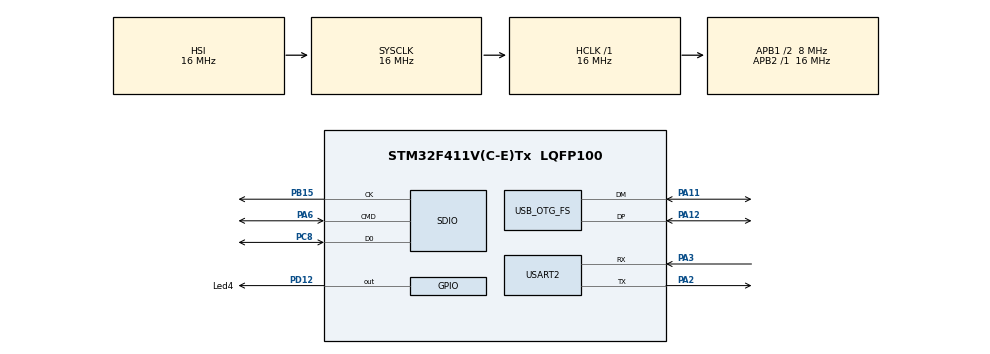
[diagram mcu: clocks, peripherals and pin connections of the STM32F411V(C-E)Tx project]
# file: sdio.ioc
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FATFS._MAX_SS=4096
Mcu.Family=STM32F4
Mcu.Name=STM32F411V(C-E)Tx
Mcu.Package=LQFP100
NVIC.OTG_FS_IRQn=true\:0\:0\:false\:false\:true\:false\:true\:true
NVIC.PriorityGroup=NVIC_PRIORITYGROUP_4
PA11.Mode=Device_Only
PA11.Signal=USB_OTG_FS_DM
PA12.Mode=Device_Only
PA12.Signal=USB_OTG_FS_DP
PA13.Mode=Serial_Wire
PA13.Signal=SYS_JTMS-SWDIO
PA14.Mode=Serial_Wire
PA14.Signal=SYS_JTCK-SWCLK
PA2.Mode=Asynchronous
PA2.Signal=USART2_TX
PA3.Mode=Asynchronous
PA3.Signal=USART2_RX
PA6.GPIO_PuPd=GPIO_PULLUP
PA6.Mode=SD_1_bit
PA6.Signal=SDIO_CMD
PB15.Mode=SD_1_bit
PB15.Signal=SDIO_CK
PC8.GPIO_PuPd=GPIO_PULLUP
PC8.Mode=SD_1_bit
PC8.Signal=SDIO_D0
PD12.GPIO_Label=Led4
PD12.Signal=GPIO_Output
PH0\ -\ OSC_IN.Mode=HSE-External-Oscillator
PH0\ -\ OSC_IN.Signal=RCC_OSC_IN
PH1\ -\ OSC_OUT.Mode=HSE-External-Oscillator
PH1\ -\ OSC_OUT.Signal=RCC_OSC_OUT
ProjectManager.HeapSize=0x1000
ProjectManager.StackSize=0x1000
ProjectManager.TargetToolchain=MDK-ARM V5.32
RCC.48MHZClocksFreq_Value=48000000
RCC.AHBFreq_Value=16000000
RCC.APB1CLKDivider=RCC_HCLK_DIV2
RCC.APB1Freq_Value=8000000
RCC.APB1TimFreq_Value=16000000
RCC.APB2Freq_Value=16000000
RCC.APB2TimFreq_Value=16000000
RCC.CortexFreq_Value=16000000
RCC.HCLKFreq_Value=16000000
RCC.HSE_VALUE=8000000
RCC.HSI_VALUE=16000000
RCC.LSE_VALUE=32768
RCC.PLLM=4
RCC.PLLN=72
RCC.PLLQ=3
RCC.SYSCLKFreq_VALUE=16000000
RCC.VCOOutputFreq_Value=144000000
SDIO.ClockDiv=3
USART2.VirtualMode=VM_ASYNC
USB_DEVICE.CLASS_NAME_FS=MSC
USB_DEVICE.VirtualMode=Msc
USB_DEVICE.VirtualModeFS=Msc_FS
USB_OTG_FS.VirtualMode=Device_Only
VP_FATFS_VS_SDIO.Mode=SDIO
VP_USB_DEVICE_VS_USB_DEVICE_MSC_FS.Mode=MSC_FS
board=custom

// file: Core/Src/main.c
/* USER CODE BEGIN Header */
/**
  ******************************************************************************
  * @file           : main.c
  * @brief          : Main program body
  ******************************************************************************
  * @attention
  *
  * Copyright (c) 2022 STMicroelectronics.
  * All rights reserved.
  *
  * This software is licensed under terms that can be found in the LICENSE file
  * in the root directory of this software component.
  * If no LICENSE file comes with this software, it is provided AS-IS.
  *
  ******************************************************************************
  */
/* USER CODE END Header */
#include "main.h"
#include "fatfs.h"
#include "usb_device.h"

/* USER CODE BEGIN Includes */
#include "string.h"
#include "diskio.h"
/* USER CODE END Includes */

 SD_HandleTypeDef hsd;

UART_HandleTypeDef huart2;

/* USER CODE BEGIN PV */
//HAL_SD_CardInfoTypeDef cardInfo;
/* USER CODE END PV */

void SystemClock_Config(void);
static void MX_GPIO_Init(void);
static void MX_SDIO_SD_Init(void);
static void MX_USART2_UART_Init(void);
/* USER CODE BEGIN PFP */
FATFS fs;  // file system
FIL fil; // File
FILINFO fno;
FRESULT fresult;  // result
UINT br, bw;  // File read/write count
/* USER CODE END PFP */

/* USER CODE BEGIN 0 */
FATFS *pfs;
DWORD fre_clust;
uint32_t total, free_space;

#define BUFFER_SIZE 128
char buffer[BUFFER_SIZE];  // to store strings..

int i=0;

int bufsize (char *buf)
{
	int i=0;
	while (*buf++ != '\0') i++;
	return i;
}

void clear_buffer (void)
{
	for (int i=0; i<BUFFER_SIZE; i++) buffer[i] = '\0';
}

void send_uart (char *string)
{
	uint8_t len = strlen (string);
	HAL_UART_Transmit(&huart2, (uint8_t *) string, len, HAL_MAX_DELAY);  // transmit in blocking mode
}

/* USER CODE END 0 */

int main(void)
{

  /* MCU Configuration--------------------------------------------------------*/

  /* Reset of all peripherals, Initializes the Flash interface and the Systick. */
  HAL_Init();

  /* Configure the system clock */
  SystemClock_Config();

  /* USER CODE BEGIN SysInit */
//  send_uart ("ERROR!!! in mounting SD CARD...\n\n");
  /* USER CODE END SysInit */

  /* Initialize all configured peripherals */
  MX_GPIO_Init();
  MX_SDIO_SD_Init();
  MX_FATFS_Init();
  MX_USART2_UART_Init();
  MX_USB_DEVICE_Init();
  /* USER CODE BEGIN 2 */
//	HAL_SD_GetCardInfo(&hsd, &cardInfo);

  fresult = f_mount(&fs, "/", 1);
    if (fresult != FR_OK) send_uart ("ERROR!!! in mounting SD CARD...\n\n");
  	else send_uart("SD CARD mounted successfully...\n\n");

	/*************** Card capacity details ********************/

  	/* Check free space */
  	f_getfree("", &fre_clust, &pfs);

  	total = (uint32_t)((pfs->n_fatent - 2) * pfs->csize * 0.5);
  	sprintf (buffer, "SD CARD Total Size: \t%lu\n\t\t\t\t\t",total);
  	send_uart(buffer);
  	clear_buffer();
  	free_space = (uint32_t)(fre_clust * pfs->csize * 0.5);
  	sprintf (buffer, "SD CARD Free Space: \t%lu\n\n\t\t\t\t",free_space);
  	send_uart(buffer);
  	clear_buffer();

    	/**************** The following operation is using f_write and f_read **************************/

//  	/* Create second file with read write access and open it */
//  	fresult = f_open(&fil, "file2.txt", FA_CREATE_ALWAYS | FA_WRITE);

//  	/* Writing text */
//  	strcpy (buffer, "This is File2.txt, written using ...f_write... and it says Hello from TokaevAS\n\t\t\t\t\t\t\t\t");

//  	fresult = f_write(&fil, buffer, bufsize(buffer), &bw);

//  	send_uart ("File2.txt created and data is written\n\t\t\t\t\t\t\t\t");

//  	/* Close file */
//  	f_close(&fil);

  	// clearing buffer to show that result obtained is from the file
  	clear_buffer();

  	/* Open second file to read */
  	fresult = f_open(&fil, "file2.txt", FA_READ);
  	if (fresult == FR_OK)send_uart ("file2.txt is open and the data is shown below\n\t\t\t\t\t\t\t\t");

  	/* Read data from the file
  	 * Please see the function details for the arguments */
  	f_read (&fil, buffer, f_size(&fil), &br);
  	send_uart(buffer);
  	send_uart("\n\n");

  	/* Close file */
  	f_close(&fil);

  	clear_buffer();
  /* USER CODE END 2 */

  /* Infinite loop */
  while (1)
  {

  }
}

void SystemClock_Config(void)
{
  RCC_OscInitTypeDef RCC_OscInitStruct = {0};
  RCC_ClkInitTypeDef RCC_ClkInitStruct = {0};

  /** Configure the main internal regulator output voltage
  */
  __HAL_RCC_PWR_CLK_ENABLE();
  __HAL_PWR_VOLTAGESCALING_CONFIG(PWR_REGULATOR_VOLTAGE_SCALE1);

  /** Initializes the RCC Oscillators according to the specified parameters
  * in the RCC_OscInitTypeDef structure.
  */
  RCC_OscInitStruct.OscillatorType = RCC_OSCILLATORTYPE_HSI|RCC_OSCILLATORTYPE_HSE;
  RCC_OscInitStruct.HSEState = RCC_HSE_ON;
  RCC_OscInitStruct.HSIState = RCC_HSI_ON;
  RCC_OscInitStruct.HSICalibrationValue = RCC_HSICALIBRATION_DEFAULT;
  RCC_OscInitStruct.PLL.PLLState = RCC_PLL_ON;
  RCC_OscInitStruct.PLL.PLLSource = RCC_PLLSOURCE_HSE;
  RCC_OscInitStruct.PLL.PLLM = 4;
  RCC_OscInitStruct.PLL.PLLN = 72;
  RCC_OscInitStruct.PLL.PLLP = RCC_PLLP_DIV2;
  RCC_OscInitStruct.PLL.PLLQ = 3;
  if (HAL_RCC_OscConfig(&RCC_OscInitStruct) != HAL_OK)
  {
    Error_Handler();
  }

  /** Initializes the CPU, AHB and APB buses clocks
  */
  RCC_ClkInitStruct.ClockType = RCC_CLOCKTYPE_HCLK|RCC_CLOCKTYPE_SYSCLK
                              |RCC_CLOCKTYPE_PCLK1|RCC_CLOCKTYPE_PCLK2;
  RCC_ClkInitStruct.SYSCLKSource = RCC_SYSCLKSOURCE_HSI;
  RCC_ClkInitStruct.AHBCLKDivider = RCC_SYSCLK_DIV1;
  RCC_ClkInitStruct.APB1CLKDivider = RCC_HCLK_DIV2;
  RCC_ClkInitStruct.APB2CLKDivider = RCC_HCLK_DIV1;

  if (HAL_RCC_ClockConfig(&RCC_ClkInitStruct, FLASH_LATENCY_0) != HAL_OK)
  {
    Error_Handler();
  }
}

static void MX_SDIO_SD_Init(void)
{

  hsd.Instance = SDIO;
  hsd.Init.ClockEdge = SDIO_CLOCK_EDGE_RISING;
  hsd.Init.ClockBypass = SDIO_CLOCK_BYPASS_DISABLE;
  hsd.Init.ClockPowerSave = SDIO_CLOCK_POWER_SAVE_DISABLE;
  hsd.Init.BusWide = SDIO_BUS_WIDE_1B;
  hsd.Init.HardwareFlowControl = SDIO_HARDWARE_FLOW_CONTROL_DISABLE;
  hsd.Init.ClockDiv = 3;

}

static void MX_USART2_UART_Init(void)
{

  huart2.Instance = USART2;
  huart2.Init.BaudRate = 115200;
  huart2.Init.WordLength = UART_WORDLENGTH_8B;
  huart2.Init.StopBits = UART_STOPBITS_1;
  huart2.Init.Parity = UART_PARITY_NONE;
  huart2.Init.Mode = UART_MODE_TX_RX;
  huart2.Init.HwFlowCtl = UART_HWCONTROL_NONE;
  huart2.Init.OverSampling = UART_OVERSAMPLING_16;
  if (HAL_UART_Init(&huart2) != HAL_OK)
  {
    Error_Handler();
  }

}

static void MX_GPIO_Init(void)
{
  GPIO_InitTypeDef GPIO_InitStruct = {0};

  /* GPIO Ports Clock Enable */
  __HAL_RCC_GPIOH_CLK_ENABLE();
  __HAL_RCC_GPIOA_CLK_ENABLE();
  __HAL_RCC_GPIOB_CLK_ENABLE();
  __HAL_RCC_GPIOD_CLK_ENABLE();
  __HAL_RCC_GPIOC_CLK_ENABLE();

  /*Configure GPIO pin Output Level */
  HAL_GPIO_WritePin(Led4_GPIO_Port, Led4_Pin, GPIO_PIN_RESET);

  /*Configure GPIO pin : Led4_Pin */
  GPIO_InitStruct.Pin = Led4_Pin;
  GPIO_InitStruct.Mode = GPIO_MODE_OUTPUT_PP;
  GPIO_InitStruct.Pull = GPIO_NOPULL;
  GPIO_InitStruct.Speed = GPIO_SPEED_FREQ_LOW;
  HAL_GPIO_Init(Led4_GPIO_Port, &GPIO_InitStruct);

}

void Error_Handler(void)
{
  __disable_irq();
  while (1)
  {
  }
}
